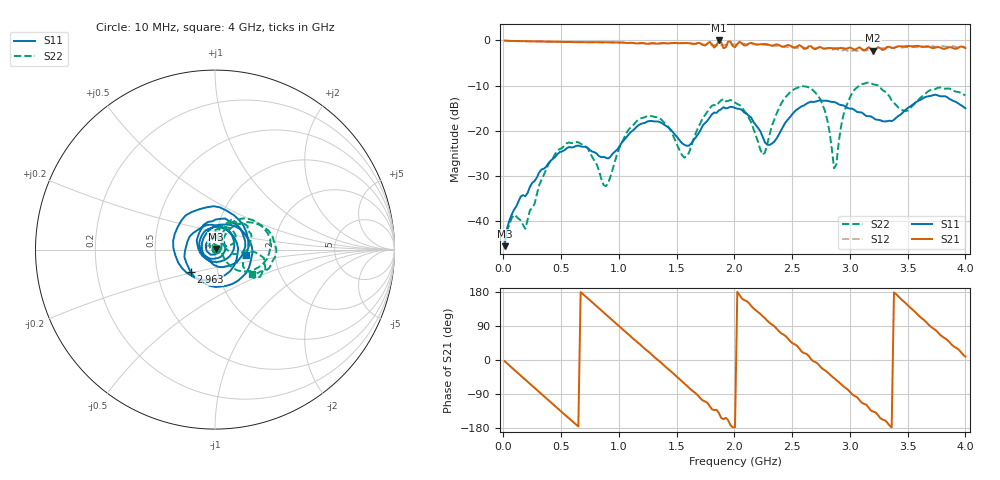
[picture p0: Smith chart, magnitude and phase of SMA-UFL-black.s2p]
! 9/28/2016 11:59:28 AM
! C:\USERS\ANRITSUUSER\DESKTOP\SWITCHES\SMA-UFL-BLACK.S2P
! CHANNEL.1
! TR.MEASUREMENT
! CORRECTED.DATA
# GHZ S RI R 50.0
! FREQ.GHZ  S11RE  S11IM  S21RE  S21IM  S12RE  S12IM  S22RE  S22IM
!; PortSelection: Port_12
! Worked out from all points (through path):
!   201 points, 10 MHz to 4 GHz, reference 50 ohm
!   highest |S21| = 0.01 dB at 1.865 GHz (marker M1); lowest = -2.3 dB at 3.202 GHz (marker M2)
!   group delay of S21, straight-line fit = 742 ps
!   lowest |S11| = -45.6 dB at 10 MHz (marker M3), VSWR 1.01, Z = 50.4 + j0.295 ohm
!   |S11| at or under -10 dB: start of sweep to end of sweep
!   |S22| runs from -44.7 to -9.3 dB; largest |S21 - S12| = 0.11
!   S11 on the Smith chart (normalised r, x): 10 MHz: 1.01, +0.01; 2.963 GHz: 0.74, -0.19; 4 GHz: 1.42, -0.09
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0.01  0.00436 0.00293  0.9958 -0.0527  0.9957 -0.0592  0.00512 0.00279
0.18955  0.00938 -0.0163  0.604 -0.7737  0.6043 -0.771  0.000176 -0.00817
0.3292  -0.0243 -0.0282  0.00355 -0.9759  0.00623 -0.9736  -0.0274 0.0086
0.5287  -0.0408 0.0453  -0.7731 -0.5712  -0.7719 -0.5734  -0.00289 0.0686
0.6883  0.0357 0.0558  -0.9531 0.1046  -0.9512 0.1014  0.0425 0.0549
0.8878  0.0215 -0.0453  -0.4795 0.8273  -0.4814 0.8241  0.00921 0.0225
1.0075  -0.0621 -0.0282  0.039 0.9496  0.0345 0.946  -0.0173 0.0637
1.34665  0.0865 0.0915  0.9241 -0.0325  0.9245 -0.0382  0.115 0.0774
1.606  -0.0317 -0.0605  0.2703 -0.8942  0.2719 -0.8928  0.0204 0.053
1.86535  0.00523 0.1677  -0.7648 -0.6459  -0.7113 -0.5536  0.1457 0.1446
2.005  0.1525 0.0932  -0.8407 -0.0376  -0.9034 -0.0275  0.1988 0.0482
2.2444  -0.00623 -0.0856  -0.3966 0.82  -0.374 0.8236  0.0497 0.0218
2.3641  -0.0722 0.0383  0.1082 0.9003  0.113 0.8631  0.0702 0.1367
2.6833  0.2036 -0.0428  0.8126 -0.0487  0.8252 -0.0239  0.2661 -0.08
2.803  0.0979 -0.1909  0.6995 -0.4316  0.6897 -0.4489  0.0923 -0.0972
2.86285  0.00267 -0.2081  0.5501 -0.6068  0.539 -0.5884  0.0366 -0.0114
2.9626  -0.1359 -0.1255  0.2239 -0.7786  0.2178 -0.7617  0.1156 0.137
3.202  -0.0167 0.1381  -0.5547 -0.5313  -0.5475 -0.587  0.3207 -0.0627
3.34165  0.1292 0.00494  -0.8448 -0.1136  -0.8403 -0.1406  0.2024 -0.1308
3.50125  -0.046 -0.1725  -0.7085 0.5052  -0.7006 0.4706  0.1632 -0.0362
3.70075  -0.2059 0.1296  0.0333 0.8354  -0.0384 0.8719  0.2754 -0.0611
4  0.1747 -0.0302  0.8126 0.1268  0.8286 0.1371  0.204 -0.1369
